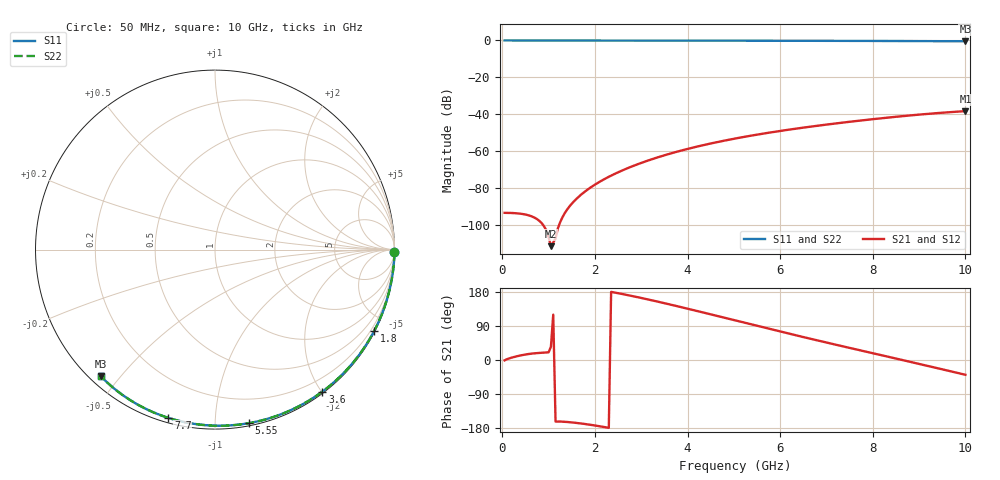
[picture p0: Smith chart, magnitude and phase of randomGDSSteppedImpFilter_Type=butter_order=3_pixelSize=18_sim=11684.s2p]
! freq	dB(S11)	phase(S11)	dB(S12)	phase(S12)
!  dB(S21)	phase(S21)	dB(S22)	phase(S22)
!S-par simulation data
#  GHz  S  DB  R 50
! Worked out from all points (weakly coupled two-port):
!   200 points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, 50 MHz to 10 GHz, reference 50 ohm
!   highest |S21| = -38.29 dB at 10 GHz (marker M1); lowest = -111.4 dB at 1.05 GHz (marker M2)
!   lowest |S11| = -0.4 dB at 10 GHz (marker M3), VSWR 39.08, Z = 1.53 - j22.2 ohm
!   |S11| at or under -10 dB: nowhere
!   |S22| runs from -0.4 to 0.0 dB; largest |S21 - S12| = 0
!   S11 on the Smith chart (normalised r, x): 50 MHz: open; 1.8 GHz: 0.04, -4.15; 3.6 GHz: 0.02, -2.01; 5.55 GHz: 0.02, -1.21; 7.7 GHz: 0.02, -0.76; 10 GHz: 0.03, -0.44
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0.05  -0.00 -0.8  -93.38 -0.9  -93.38 -0.9  -0.00 -0.8
0.55  -0.01 -8.4  -94.60 15.5  -94.60 15.5  -0.01 -8.4
1.05  -0.02 -15.9  -111.43 34.9  -111.43 34.9  -0.02 -15.9
1.75  -0.03 -26.3  -82.53 -168.3  -82.53 -168.3  -0.03 -26.3
1.8  -0.03 -27.1  -81.55 -169.1  -81.55 -169.1  -0.03 -27.1
1.9  -0.04 -28.5  -79.75 -170.9  -79.75 -170.9  -0.04 -28.5
2.05  -0.04 -30.7  -77.33 -173.8  -77.33 -173.8  -0.04 -30.7
2.25  -0.04 -33.7  -74.50 -178.0  -74.50 -178.0  -0.04 -33.7
2.45  -0.05 -36.6  -72.00 177.5  -72.00 177.5  -0.05 -36.6
2.65  -0.05 -39.5  -69.77 172.7  -69.77 172.7  -0.05 -39.5
3  -0.06 -44.5  -66.33 163.7  -66.33 163.7  -0.06 -44.5
3.4  -0.07 -50.1  -62.97 152.8  -62.97 152.8  -0.07 -50.1
3.6  -0.07 -52.9  -61.47 147.1  -61.47 147.1  -0.07 -52.9
4.3  -0.09 -62.5  -56.94 126.5  -56.94 126.5  -0.09 -62.5
5.05  -0.11 -72.5  -53.02 103.8  -53.02 103.8  -0.11 -72.5
5.55  -0.13 -79.0  -50.81 88.6  -50.81 88.6  -0.13 -79.0
6.1  -0.15 -86.0  -48.65 72.2  -48.65 72.2  -0.15 -86.0
6.7  -0.18 -93.5  -46.55 54.7  -46.55 54.7  -0.18 -93.5
7.7  -0.24 -105.5  -43.48 26.3  -43.48 26.3  -0.24 -105.5
8.35  -0.29 -113.1  -41.72 8.1  -41.72 8.1  -0.29 -113.2
9.2  -0.36 -122.9  -39.74 -16.0  -39.74 -16.0  -0.36 -122.9
10  -0.44 -132.0  -38.29 -39.0  -38.29 -39.0  -0.44 -132.0
